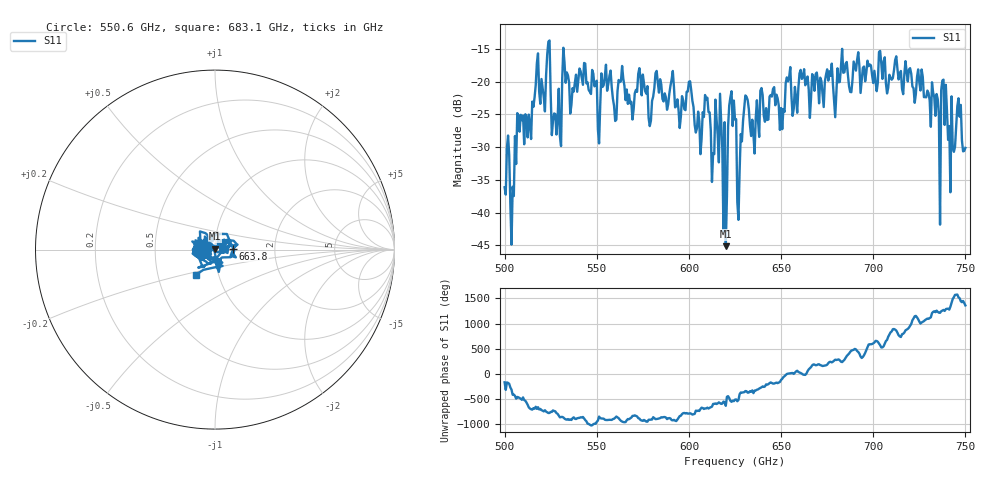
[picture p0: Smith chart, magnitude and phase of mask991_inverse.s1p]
!Created with skrf (http://scikit-rf.org).
# GHz S MA R 50.0
!freq magS11 angS11
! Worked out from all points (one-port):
!   401 points, 500 GHz to 750 GHz, reference 50 ohm
!   lowest |S11| = -45.1 dB at 620 GHz (marker M1), VSWR 1.01, Z = 50.1 + j0.551 ohm
!   |S11| at or under -10 dB: start of sweep to end of sweep
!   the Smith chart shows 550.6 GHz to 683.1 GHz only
!   S11 on the Smith chart (normalised r, x): 550.6 GHz: 0.93, +0.04; 663.8 GHz: 1.23, +0.01; 683.1 GHz: 0.78, -0.23
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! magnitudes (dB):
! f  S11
! 500 GHz  -36.1
! 503.8 GHz  -44.9
! 508.1 GHz  -27.7
! 513.1 GHz  -25.0
! 517.5 GHz  -17.2
! 523.8 GHz  -13.9
! 526.9 GHz  -24.9
! 531.2 GHz  -19.6
! 542.5 GHz  -20.5
! 550.6 GHz  -27.3
! 562.5 GHz  -20.1
! 593.8 GHz  -22.7
! 610 GHz  -22.5
! 620 GHz  -45.1
! 622.5 GHz  -22.4
! 625 GHz  -25.8
! 627.5 GHz  -33.7
! 631.2 GHz  -22.3
! 634.4 GHz  -25.8
! 656.2 GHz  -25.2
! 663.8 GHz  -19.9
! 683.1 GHz  -15.0
! 687.5 GHz  -21.6
! 718.8 GHz  -20.0
! 738.1 GHz  -19.7
! 743.1 GHz  -30.1
! 746.2 GHz  -22.6
! 750 GHz  -30.1
